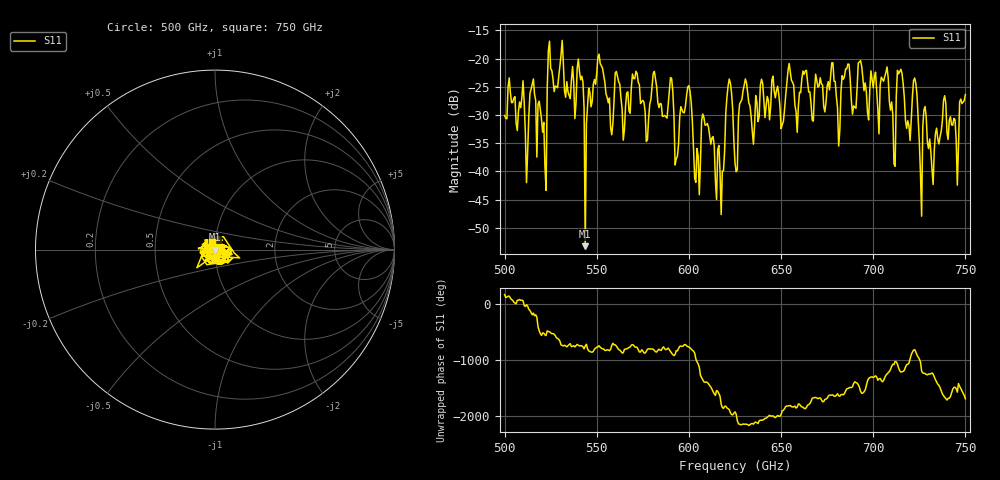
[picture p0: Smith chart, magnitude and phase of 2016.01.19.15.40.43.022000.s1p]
!Created with skrf (http://scikit-rf.org).
# GHz S RI R 50.0
!freq ReS11 ImS11
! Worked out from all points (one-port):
!   401 points, 500 GHz to 750 GHz, reference 50 ohm
!   lowest |S11| = -53.3 dB at 543.8 GHz (marker M1), VSWR 1.00, Z = 50.2 - j0.103 ohm
!   |S11| at or under -10 dB: start of sweep to end of sweep
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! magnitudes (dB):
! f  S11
! 500 GHz  -30.1
! 515 GHz  -24.5
! 521.2 GHz  -31.3
! 524.4 GHz  -16.9
! 531.2 GHz  -16.8
! 541.2 GHz  -23.8
! 543.8 GHz  -53.3
! 551.2 GHz  -19.2
! 562.5 GHz  -24.5
! 590 GHz  -23.4
! 593.8 GHz  -37.3
! 600 GHz  -24.8
! 604.4 GHz  -35.9
! 608.1 GHz  -30.4
! 618.1 GHz  -39.9
! 621.9 GHz  -23.6
! 625 GHz  -38.5
! 630 GHz  -24.7
! 656.2 GHz  -24.2
! 687.5 GHz  -23.6
! 706.9 GHz  -22.4
! 710.6 GHz  -29.9
! 714.4 GHz  -22.3
! 718.8 GHz  -31.0
! 722.5 GHz  -23.5
! 725.6 GHz  -40.3
! 731.9 GHz  -39.6
! 750 GHz  -26.4
